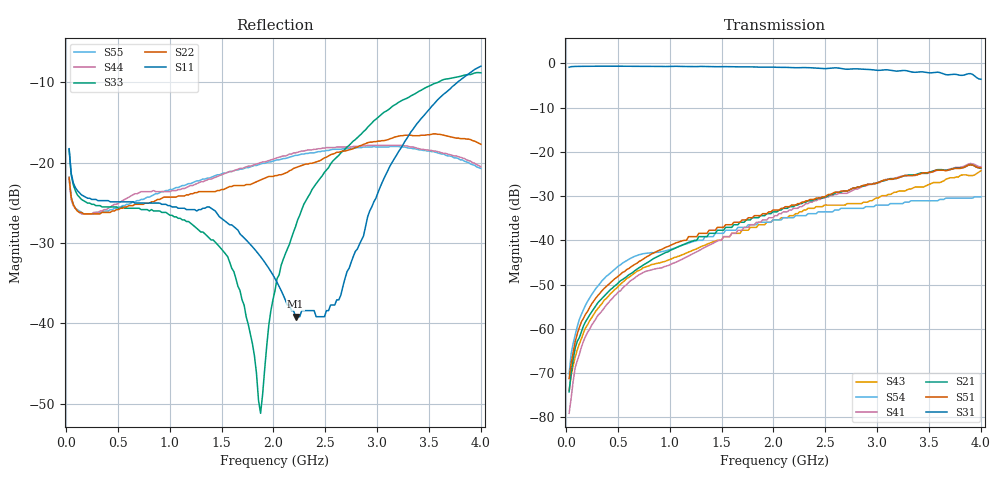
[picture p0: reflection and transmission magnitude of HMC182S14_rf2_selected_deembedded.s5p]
!Hittite Microwave Corporation
!12 Elizabeth Drive
!Chelmsford, MA 01824
!Tel: 978-250-3343
!Fax: 978-250-3373
!Device: HMC182S14, DC-2 GHz GaAS MMIC SP4T Non-Reflective Switch in 14-lead SOIC package
!Misc: Port 1 = RFCom, Port 2 = RF1, Port 3 = RF2, Port 4 = RF3, Port 5 = RF4, RF2 selected, Vctl=0/-5V
# MHZ S MA R 50
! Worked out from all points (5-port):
!   201 points, 30 MHz to 4 GHz, reference 50 ohm
!   strongest paths, dB at 30 MHz, 1.022 GHz, 2.015 GHz, 3.007 GHz, 4 GHz:
!     S31: -0.9, -0.7, -0.9, -1.6, -3.6
!     S51: -71.3, -41.0, -33.2, -26.9, -23.6
!     S21: -74.3, -42.1, -33.6, -26.9, -23.7
!     S41: -79.1, -45.3, -34.4, -26.9, -23.3
!     S54: -70.2, -41.9, -35.4, -32.0, -30.2
!     S43: -74.1, -44.1, -35.4, -30.5, -24.3
!   lowest |S11| = -39.2 dB at 2.213 GHz (marker M1), VSWR 1.02, Z = 51 - j0.391 ohm
!   |S11| at or under -10 dB: start of sweep to 3.775 GHz
